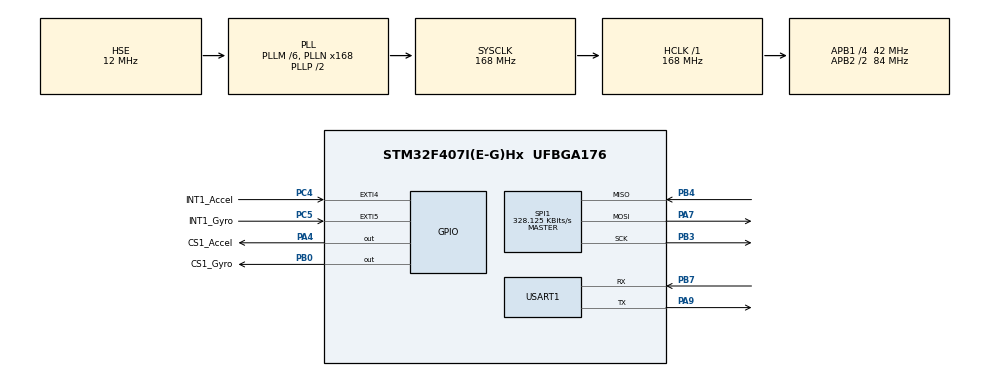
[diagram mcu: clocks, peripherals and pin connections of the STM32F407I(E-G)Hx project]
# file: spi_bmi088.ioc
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Mcu.Family=STM32F4
Mcu.Name=STM32F407I(E-G)Hx
Mcu.Package=UFBGA176
NVIC.EXTI4_IRQn=true\:0\:0\:false\:false\:true\:true\:true\:true
NVIC.EXTI9_5_IRQn=true\:0\:0\:false\:false\:true\:true\:true\:true
NVIC.PriorityGroup=NVIC_PRIORITYGROUP_4
NVIC.USART1_IRQn=true\:0\:0\:false\:false\:true\:true\:true\:true
PA13.Mode=Serial_Wire
PA13.Signal=SYS_JTMS-SWDIO
PA14.Mode=Serial_Wire
PA14.Signal=SYS_JTCK-SWCLK
PA4.GPIO_Label=CS1_Accel
PA4.GPIO_PuPd=GPIO_PULLUP
PA4.GPIO_Speed=GPIO_SPEED_FREQ_HIGH
PA4.PinState=GPIO_PIN_SET
PA4.Signal=GPIO_Output
PA7.Mode=Full_Duplex_Master
PA7.Signal=SPI1_MOSI
PA9.Mode=Asynchronous
PA9.Signal=USART1_TX
PB0.GPIO_Label=CS1_Gyro
PB0.GPIO_PuPd=GPIO_PULLUP
PB0.GPIO_Speed=GPIO_SPEED_FREQ_HIGH
PB0.PinState=GPIO_PIN_SET
PB0.Signal=GPIO_Output
PB3.Mode=Full_Duplex_Master
PB3.Signal=SPI1_SCK
PB4.Mode=Full_Duplex_Master
PB4.Signal=SPI1_MISO
PB7.Mode=Asynchronous
PB7.Signal=USART1_RX
PC4.GPIO_Label=INT1_Accel
PC4.GPIO_ModeDefaultEXTI=GPIO_MODE_IT_FALLING
PC4.GPIO_PuPd=GPIO_PULLUP
PC4.Signal=GPXTI4
PC5.GPIO_Label=INT1_Gyro
PC5.GPIO_ModeDefaultEXTI=GPIO_MODE_IT_FALLING
PC5.GPIO_PuPd=GPIO_PULLUP
PC5.Signal=GPXTI5
PH0-OSC_IN.Mode=HSE-External-Oscillator
PH0-OSC_IN.Signal=RCC_OSC_IN
PH1-OSC_OUT.Mode=HSE-External-Oscillator
PH1-OSC_OUT.Signal=RCC_OSC_OUT
ProjectManager.HeapSize=0x200
ProjectManager.StackSize=0x400
ProjectManager.TargetToolchain=CMake
RCC.48MHZClocksFreq_Value=84000000
RCC.AHBFreq_Value=168000000
RCC.APB1CLKDivider=RCC_HCLK_DIV4
RCC.APB1Freq_Value=42000000
RCC.APB1TimFreq_Value=84000000
RCC.APB2CLKDivider=RCC_HCLK_DIV2
RCC.APB2Freq_Value=84000000
RCC.APB2TimFreq_Value=168000000
RCC.CortexFreq_Value=168000000
RCC.HCLKFreq_Value=168000000
RCC.HSE_VALUE=12000000
RCC.HSI_VALUE=16000000
RCC.LSE_VALUE=32768
RCC.PLLM=6
RCC.PLLN=168
RCC.PLLSourceVirtual=RCC_PLLSOURCE_HSE
RCC.SYSCLKFreq_VALUE=168000000
RCC.SYSCLKSource=RCC_SYSCLKSOURCE_PLLCLK
RCC.VCOOutputFreq_Value=336000000
SPI1.BaudRatePrescaler=SPI_BAUDRATEPRESCALER_256
SPI1.CLKPhase=SPI_PHASE_2EDGE
SPI1.CLKPolarity=SPI_POLARITY_HIGH
SPI1.CalculateBaudRate=328.125 KBits/s
SPI1.Direction=SPI_DIRECTION_2LINES
SPI1.Mode=SPI_MODE_MASTER
SPI1.VirtualType=VM_MASTER
USART1.VirtualMode=VM_ASYNC
board=custom

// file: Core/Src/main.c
/* USER CODE BEGIN Header */
/**
  ******************************************************************************
  * @file           : main.c
  * @brief          : Main program body
  ******************************************************************************
  * @attention
  *
  * Copyright (c) 2026 STMicroelectronics.
  * All rights reserved.
  *
  * This software is licensed under terms that can be found in the LICENSE file
  * in the root directory of this software component.
  * If no LICENSE file comes with this software, it is provided AS-IS.
  *
  ******************************************************************************
  */
/* USER CODE END Header */
#include "main.h"
#include "spi.h"
#include "usart.h"
#include "gpio.h"

/* USER CODE BEGIN Includes */
#include "bmi088.h"
#include <stdarg.h>
#include <stdint.h>
#include <stdio.h>
#include "spi.h"
/* USER CODE END Includes */

/* USER CODE BEGIN PTD */
BMI088_HandleTypeDef bmi088 = {.hspi = &hspi1,
                               .ACC_CS_GPIO = GPIOA,
                               .ACC_CS_PIN = CS1_Accel_Pin,
                               .GYRO_CS_GPIO = GPIOB,
                               .GYRO_CS_PIN = CS1_Gyro_Pin
                              };

BMI088_RawDataTypeDef raw;
BMI088_PhysDataTypeDef phys;
volatile uint8_t bmi088_drdy_flag = 0;
volatile uint32_t bmi088_irq_count = 0;
volatile uint32_t bmi088_read_count = 0;
volatile uint32_t bmi088_read_error_count = 0;
static uint32_t temp_div = 0;
/* USER CODE END PTD */

void SystemClock_Config(void);

/* USER CODE BEGIN 0 */
void usart_printf(const char *fmt, ...)
{
    static uint8_t tx_buf[256];  // 单任务下可保留静态，减少栈占用
    uint8_t len;
    va_list ap;

    // 等待上一次UART传输完成
    while (huart1.gState != HAL_UART_STATE_READY)
    {
    }

    // 安全格式化字符串
    va_start(ap, fmt);
    len = vsnprintf((char*)tx_buf, sizeof(tx_buf), fmt, ap);
    va_end(ap);

    // 严谨处理返回值
    if (len <= 0)
    {
        return;  // 格式化出错，直接返回
    }
    if (len >= sizeof(tx_buf))
    {
        len = sizeof(tx_buf) - 1;  // 截断保护
    }

    HAL_UART_Transmit(&huart1, tx_buf, len, 9999);
}

/* USER CODE END 0 */

int main(void)
{

    /* MCU Configuration--------------------------------------------------------*/

    /* Reset of all peripherals, Initializes the Flash interface and the Systick. */
    HAL_Init();

    /* Configure the system clock */
    SystemClock_Config();

    /* Initialize all configured peripherals */
    MX_GPIO_Init();
    MX_SPI1_Init();
    MX_USART1_UART_Init();
    /* USER CODE BEGIN 2 */
    BMI088_Init(&bmi088,
                BMI088_ACC_RANGE_24G,
                BMI088_ACC_ODR_1600HZ,
                BMI088_GYRO_RANGE_2000DPS,
                BMI088_GYRO_BW_532HZ_2000HZ);
    // BMI088_Init(&bmi088,
    //             BMI088_ACC_RANGE_24G,
    //             BMI088_ACC_ODR_400HZ,
    //             BMI088_GYRO_RANGE_2000DPS,
    //             BMI088_GYRO_BW_47HZ_400HZ);
    /* USER CODE END 2 */

    /* Infinite loop */
    /* USER CODE BEGIN WHILE */
    while (1)
    {
        // if (bmi088_new_data_exti_flags & 0x01)
        // {
        //     // 读取寄存器清除标志位
        //     if (BMI088_ClearFlag(&bmi088, BMI088_ACC_INT_FLAG) != BMI088_OK)
        //     {
        //         return BMI088_ERROR;
        //     }
        //     BMI088_ReadRaw(&bmi088, &raw);
        //     BMI088_ConvertRawToPhys(&bmi088, &raw, &phys);
        //     bmi088_new_data_exti_flags &= ~BMI088_ACC_INT_FLAG;
        // }
        // else if (bmi088_new_data_exti_flags & 0x02)
        // {
        //     // 读取寄存器清除标志位
        //     if (BMI088_ClearFlag(&bmi088, BMI088_GYRO_INT_FLAG) != BMI088_OK)
        //     {
        //         return BMI088_ERROR;
        //     }
        //     BMI088_ReadRaw(&bmi088, &raw);
        //     BMI088_ConvertRawToPhys(&bmi088, &raw, &phys);
        //     bmi088_new_data_exti_flags &= ~BMI088_GYRO_INT_FLAG;
        // }

        uint8_t flag = 0;

        __disable_irq();
        flag = bmi088_drdy_flag;
        bmi088_drdy_flag = 0;
        __enable_irq();

        if (flag)
        {
            if (BMI088_ReadRaw6Axis(&bmi088, &raw) == BMI088_OK)
            {
                if (++temp_div >= 40)   // 400Hz 下约 10Hz 读温度
                {
                    temp_div = 0;
                    BMI088_ReadTemperature(&bmi088, &raw);
                }

                BMI088_ConvertRawToPhys(&bmi088, &raw, &phys);
                bmi088_read_count++;
            }
            else
            {
                bmi088_read_error_count++;
            }

        }

        /* USER CODE END WHILE */

    }
}

void SystemClock_Config(void)
{
    RCC_OscInitTypeDef RCC_OscInitStruct = {0};
    RCC_ClkInitTypeDef RCC_ClkInitStruct = {0};

    /** Configure the main internal regulator output voltage
    */
    __HAL_RCC_PWR_CLK_ENABLE();
    __HAL_PWR_VOLTAGESCALING_CONFIG(PWR_REGULATOR_VOLTAGE_SCALE1);

    /** Initializes the RCC Oscillators according to the specified parameters
    * in the RCC_OscInitTypeDef structure.
    */
    RCC_OscInitStruct.OscillatorType = RCC_OSCILLATORTYPE_HSE;
    RCC_OscInitStruct.HSEState = RCC_HSE_ON;
    RCC_OscInitStruct.PLL.PLLState = RCC_PLL_ON;
    RCC_OscInitStruct.PLL.PLLSource = RCC_PLLSOURCE_HSE;
    RCC_OscInitStruct.PLL.PLLM = 6;
    RCC_OscInitStruct.PLL.PLLN = 168;
    RCC_OscInitStruct.PLL.PLLP = RCC_PLLP_DIV2;
    RCC_OscInitStruct.PLL.PLLQ = 4;
    if (HAL_RCC_OscConfig(&RCC_OscInitStruct) != HAL_OK)
    {
        Error_Handler();
    }

    /** Initializes the CPU, AHB and APB buses clocks
    */
    RCC_ClkInitStruct.ClockType = RCC_CLOCKTYPE_HCLK | RCC_CLOCKTYPE_SYSCLK
                                  | RCC_CLOCKTYPE_PCLK1 | RCC_CLOCKTYPE_PCLK2;
    RCC_ClkInitStruct.SYSCLKSource = RCC_SYSCLKSOURCE_PLLCLK;
    RCC_ClkInitStruct.AHBCLKDivider = RCC_SYSCLK_DIV1;
    RCC_ClkInitStruct.APB1CLKDivider = RCC_HCLK_DIV4;
    RCC_ClkInitStruct.APB2CLKDivider = RCC_HCLK_DIV2;

    if (HAL_RCC_ClockConfig(&RCC_ClkInitStruct, FLASH_LATENCY_5) != HAL_OK)
    {
        Error_Handler();
    }
}

/* USER CODE BEGIN 4 */
/**
GYRO DRDY INT3 作为唯一采样中断
    ↓
EXTI 回调只置位 flag，不读 SPI
    ↓
main while 中看到 flag
    ↓
一次性 BMI088_ReadRaw() 读取 ACC + GYRO
    ↓
BMI088_ConvertRawToPhys()
    ↓
温度每 100 次或 200 次再读一次
*/
void HAL_GPIO_EXTI_Callback(uint16_t GPIO_Pin)
{
    // if (GPIO_Pin == INT1_Accel_Pin)
    // {
    //     // 0000 0001
    //     bmi088_new_data_exti_flags |= BMI088_ACC_INT_FLAG;
    // }
    // else if (GPIO_Pin == INT1_Gyro_Pin)
    // {
    //     // 0000 0010
    //     bmi088_new_data_exti_flags |= BMI088_GYRO_INT_FLAG;
    // }
    if (GPIO_Pin == INT1_Gyro_Pin)
    {
        bmi088_drdy_flag = 1;
        bmi088_irq_count++;
    }
}
/* USER CODE END 4 */

void Error_Handler(void)
{
    __disable_irq();
    while (1)
    {
    }
}
